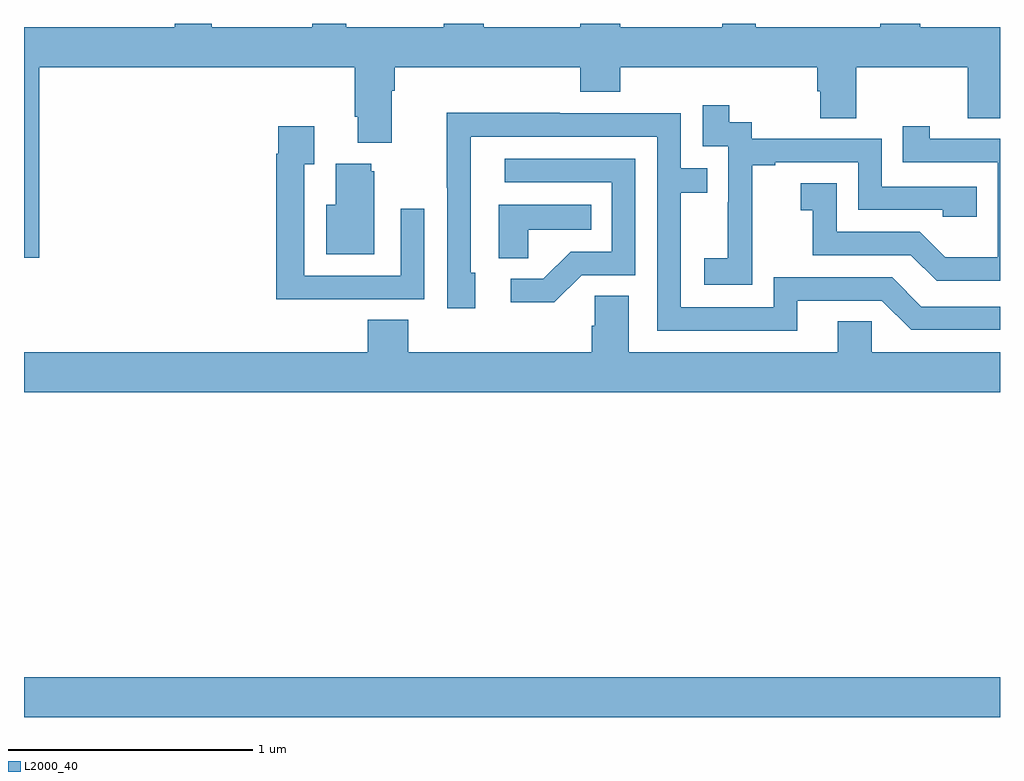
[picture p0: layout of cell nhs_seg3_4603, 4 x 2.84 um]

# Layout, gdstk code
import gdstk
lib = gdstk.Library(unit=1e-6, precision=1e-09)
def R(c, l, rs):  # rectangles x0, y0, x1, y1
    for r in rs: c.add(gdstk.rectangle(r[:2], r[2:], *l))
def P(c, l, *ps):  # polygons
    for p in ps: c.add(gdstk.Polygon(p, *l))
L2000_40 = (2000, 40)

nhs_seg3_4603 = lib.new_cell('nhs_seg3_4603')
R(nhs_seg3_4603, L2000_40, [(357,727.556,361,727.72)])
P(nhs_seg3_4603, L2000_40, [(359.999,730.4),(359.861,730.4),(359.861,730.384),(359.443,730.384),(359.443,730.4),(359.279,730.4),(359.279,730.384),(358.885,730.384),(358.885,730.4),(358.721,730.4),(358.721,730.384),(358.321,730.384),(358.321,730.4),(358.181,730.4),(358.181,730.384),(357.769,730.384),(357.769,730.4),(357.617,730.4),(357.617,730.384),(357,730.384),(357,729.441),(357.062,729.441),(357.062,730.22),(358.355,730.22),(358.355,730.018),(358.367,730.018),(358.367,729.911),(358.507,729.911),(358.507,730.124),(358.52,730.124),(358.52,730.22),(359.279,730.22),(359.279,730.121),(359.444,730.121),(359.444,730.22),(360.251,730.22),(360.251,730.122),(360.263,730.122),(360.263,730.012),(360.411,730.012),(360.411,730.22),(360.868,730.22),(360.868,730.012),(361,730.012),(361,730.384),(360.673,730.384),(360.673,730.4),(360.509,730.4),(360.509,730.384),(359.999,730.384)],
  [(359.985,729.535),(359.984,729.535),(359.984,729.819),(360.079,729.819),(360.079,729.831),(360.42,729.831),(360.42,729.636),(360.765,729.636),(360.765,729.609),(360.905,729.609),(360.905,729.732),(360.516,729.732),(360.516,729.927),(359.982,729.927),(359.982,729.996),(359.89,729.996),(359.89,730.066),(359.781,730.066),(359.781,729.897),(359.886,729.897),(359.886,729.668),(359.885,729.668),(359.885,729.439),(359.787,729.439),(359.787,729.329),(359.985,729.329)],
  [(360.169,729.264),(360.516,729.264),(360.636,729.144),(361,729.144),(361,729.24),(360.678,729.24),(360.558,729.36),(360.072,729.36),(360.072,729.237),(359.691,729.237),(359.691,729.706),(359.801,729.706),(359.801,729.807),(359.691,729.807),(359.691,730.032),(359.195,730.032),(359.195,730.034),(358.732,730.034),(358.732,729.727),(358.734,729.727),(358.734,729.234),(358.849,729.234),(358.849,729.378),(358.83,729.378),(358.83,729.936),(359.595,729.936),(359.595,729.141),(360.169,729.141)],
  [(361,729.927),(360.712,729.927),(360.712,729.979),(360.601,729.979),(360.601,729.831),(360.99,729.831),(360.99,729.442),(360.776,729.442),(360.672,729.546),(360.33,729.546),(360.33,729.745),(360.183,729.745),(360.183,729.635),(360.232,729.635),(360.232,729.45),(360.635,729.45),(360.74,729.345),(361,729.345)],
  [(358.325,729.27),(358.641,729.27),(358.641,729.64),(358.545,729.64),(358.545,729.366),(358.149,729.366),(358.149,729.823),(358.189,729.823),(358.189,729.979),(358.041,729.979),(358.041,729.866),(358.033,729.866),(358.033,729.269),(358.325,729.269)],
  [(359.286,729.369),(359.505,729.369),(359.505,729.846),(358.971,729.846),(358.971,729.75),(359.409,729.75),(359.409,729.465),(359.24,729.465),(359.129,729.354),(358.995,729.354),(358.995,729.257),(359.173,729.257)],
  [(358.435,729.795),(358.424,729.795),(358.424,729.826),(358.277,729.826),(358.277,729.658),(358.238,729.658),(358.238,729.455),(358.435,729.455)],
  [(359.067,729.554),(359.324,729.554),(359.324,729.658),(358.946,729.658),(358.946,729.439),(359.067,729.439)],
  [(361,729.052),(360.474,729.052),(360.474,729.179),(360.335,729.179),(360.335,729.052),(359.479,729.052),(359.479,729.284),(359.34,729.284),(359.34,729.161),(359.327,729.161),(359.327,729.052),(358.574,729.052),(358.574,729.185),(358.409,729.185),(358.409,729.052),(357,729.052),(357,728.888),(361,728.888)])

lib.write_gds('nhs_seg3_4603.gds')
